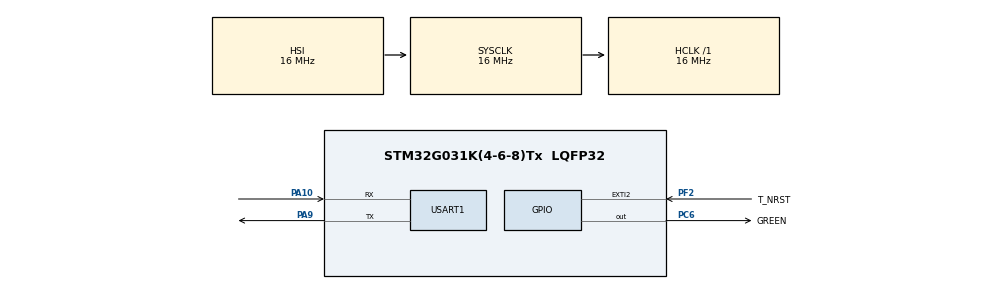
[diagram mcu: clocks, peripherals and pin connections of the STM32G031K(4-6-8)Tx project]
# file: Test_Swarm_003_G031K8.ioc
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Dma.Request0=USART1_RX
Dma.USART1_RX.0.Direction=DMA_PERIPH_TO_MEMORY
Dma.USART1_RX.0.EventEnable=DISABLE
Dma.USART1_RX.0.Instance=DMA1_Channel1
Dma.USART1_RX.0.MemDataAlignment=DMA_MDATAALIGN_BYTE
Dma.USART1_RX.0.MemInc=DMA_MINC_ENABLE
Dma.USART1_RX.0.Mode=DMA_NORMAL
Dma.USART1_RX.0.PeriphDataAlignment=DMA_PDATAALIGN_BYTE
Dma.USART1_RX.0.PeriphInc=DMA_PINC_DISABLE
Dma.USART1_RX.0.Polarity=HAL_DMAMUX_REQ_GEN_RISING
Dma.USART1_RX.0.Priority=DMA_PRIORITY_LOW
Dma.USART1_RX.0.RequestNumber=1
Dma.USART1_RX.0.SignalID=NONE
Dma.USART1_RX.0.SyncEnable=DISABLE
Dma.USART1_RX.0.SyncPolarity=HAL_DMAMUX_SYNC_NO_EVENT
Dma.USART1_RX.0.SyncRequestNumber=1
Dma.USART1_RX.0.SyncSignalID=NONE
Mcu.Family=STM32G0
Mcu.Name=STM32G031K(4-6-8)Tx
Mcu.Package=LQFP32
NVIC.DMA1_Channel1_IRQn=true\:0\:0\:false\:false\:true\:false\:true\:true
NVIC.RTC_TAMP_IRQn=true\:0\:0\:false\:false\:true\:true\:true\:true
NVIC.TIM14_IRQn=true\:0\:0\:false\:false\:true\:true\:true\:true
NVIC.USART1_IRQn=true\:0\:0\:false\:false\:true\:true\:true\:true
PA10.Mode=Asynchronous
PA10.Signal=USART1_RX
PA13.GPIO_Label=T_JTMS
PA13.Mode=Serial_Wire
PA13.Signal=SYS_SWDIO
PA14-BOOT0.GPIO_Label=T_JTCK
PA14-BOOT0.Mode=Serial_Wire
PA14-BOOT0.Signal=SYS_SWCLK
PA9.Mode=Asynchronous
PA9.Signal=USART1_TX
PC14-OSC32_IN\ (PC14).Mode=LSE-External-Oscillator
PC14-OSC32_IN\ (PC14).Signal=RCC_OSC32_IN
PC15-OSC32_OUT\ (PC15).Mode=LSE-External-Oscillator
PC15-OSC32_OUT\ (PC15).Signal=RCC_OSC32_OUT
PC6.GPIO_Label=GREEN
PC6.Signal=GPIO_Output
PF2\ -\ NRST.GPIO_Label=T_NRST
PF2\ -\ NRST.Signal=GPXTI2
ProjectManager.HeapSize=0x200
ProjectManager.StackSize=0x400
ProjectManager.TargetToolchain=STM32CubeIDE
RCC.AHBFreq_Value=16000000
RCC.CortexFreq_Value=16000000
RCC.EXTERNAL_CLOCK_VALUE=12288000
RCC.HCLKFreq_Value=16000000
RCC.HSE_VALUE=8000000
RCC.HSI_VALUE=16000000
RCC.RTCClockSelection=RCC_RTCCLKSOURCE_LSE
RCC.SYSCLKFreq_VALUE=16000000
RCC.VCOOutputFreq_Value=128000000
RTC.WakeUpClock-WakeUp=RTC_WAKEUPCLOCK_CK_SPRE_16BITS
RTC.WakeUpCounter-WakeUp=60
TIM14.Period=5000-1
TIM14.Prescaler=16000-1
USART1.VirtualMode-Asynchronous=VM_ASYNC
VP_RTC_VS_RTC_Activate.Mode=RTC_Enabled
VP_RTC_VS_RTC_WakeUp_intern.Mode=WakeUp
VP_TIM14_VS_ClockSourceINT.Mode=Enable_Timer
board=NUCLEO-G031K8

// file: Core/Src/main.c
/* USER CODE BEGIN Header */
/**
  ******************************************************************************
  * @file           : main.c
  * @brief          : Main program body
  ******************************************************************************
  * @attention
  *
  * Copyright (c) 2022 STMicroelectronics.
  * All rights reserved.
  *
  * This software is licensed under terms that can be found in the LICENSE file
  * in the root directory of this software component.
  * If no LICENSE file comes with this software, it is provided AS-IS.
  *
  ******************************************************************************
  */
/* USER CODE END Header */
#include "main.h"

/* USER CODE BEGIN Includes */
#include <stdlib.h>
#include <stdio.h>
#include <string.h>
/* USER CODE END Includes */

/* USER CODE BEGIN PD */
#define SWARM_UART_HANDLER				&huart1
#define SWARM_UART_TX_TIMEOUT			100
#define SWARM_UART_RX_MAX_BUFF_SIZE		100
#define SWARM_ANSWER_MAX_BUFF_SIZE		100
#define SWARM_UART_TX_MAX_BUFF_SIZE		250
#define SWARM_TD_PAYLOAD_MAX_BUFF_SIZE	192
/* USER CODE END PD */

RTC_HandleTypeDef hrtc;

TIM_HandleTypeDef htim14;

UART_HandleTypeDef huart1;
DMA_HandleTypeDef hdma_usart1_rx;

/* USER CODE BEGIN PV */
char             	swarm_uart_rx_buff[SWARM_UART_RX_MAX_BUFF_SIZE] ;
char             	swarm_uart_tx_buff[SWARM_UART_TX_MAX_BUFF_SIZE] ;
uint8_t				tim14_on ;
uint8_t				swarm_checklist = 0 ;
uint32_t			m138_dev_id = 0 ;
//unsigned int		m138_dev_id = 0 ;
float				m138_voltage = 0 ;
char				m138_fix[50] ;
uint8_t				answer_from_swarm_come = 0 ;

// SWARM AT Commands
const char*			cs_at					= "$CS" ;
const char*			rt_0_at					= "$RT 0" ;
const char*			rt_q_rate_at			= "$RT ?" ;
const char*			pw_0_at					= "$PW 0" ;
const char*			pw_q_rate_at			= "$PW ?" ;
const char*			pw_mostrecent_at		= "$PW @" ;
const char*			dt_0_at					= "$DT 0" ;
const char*			dt_q_rate_at			= "$DT ?" ;
const char*			gs_0_at					= "$GS 0" ;
const char*			gs_q_rate_at			= "$GS ?" ;
const char*			gj_0_at					= "$GJ 0" ;
const char*			gj_q_rate_at			= "$GJ ?" ;
const char*			gn_0_at					= "$GN 0" ;
const char*			gn_q_rate_at			= "$GN ?" ;
const char*			gn_mostrecent_at		= "$GN @" ;
const char*			sl_60s_at_comm			= "$SL S=60" ;
// SWARM AT Answers
const char*         cs_answer				= "$CS DI=0x" ;
const char*         rt_ok_answer			= "$RT OK*22" ;
const char*         rt_0_answer				= "$RT 0*16" ;
const char*         pw_ok_answer			= "$PW OK*23" ;
const char*         pw_0_answer				= "$PW 0*17" ;
const char*         pw_mostrecent_answer	= "$PW " ;
const char*         dt_ok_answer			= "$DT OK*34" ;
const char*         dt_0_answer				= "$DT 0*00" ;
const char*         gs_ok_answer			= "$GS OK*30" ;
const char*         gs_0_answer				= "$GS 0*04" ;
const char*         gj_ok_answer			= "$GJ OK*29" ;
const char*         gj_0_answer				= "$GJ 0*1d" ;
const char*         gn_ok_answer			= "$GN OK*2d" ;
const char*         gn_0_answer				= "$GN 0*19" ;
const char*         gn_mostrecent_answer	= "$GN " ;
const char*			td_ok_answer			= "$TD OK," ;
const char*         sl_ok_answer			= "$SL OK*3b\0" ;
/* USER CODE END PV */

void SystemClock_Config(void);
static void MX_GPIO_Init(void);
static void MX_DMA_Init(void);
static void MX_USART1_UART_Init(void);
static void MX_TIM14_Init(void);
static void MX_RTC_Init(void);
/* USER CODE BEGIN PFP */
void				m138_init 				() ;
uint8_t 			store_m138_dev_id 		( uint32_t* , char* ) ;
uint8_t 			store_m138_voltage 		( float* , char* ) ;
uint8_t 			store_m138_fix 			( char* , char* ) ;
uint8_t 			send_m138_message		() ;
HAL_StatusTypeDef 	send_string_2_uart 		( char* ) ;
uint8_t				uart_comm 				( const char* , const char* , uint16_t ) ;
void				receive_dma_uart 		() ;
void				clean_array 			( char* , uint16_t ) ;
uint8_t				nmea_checksum 			( const char* , size_t ) ;
/* USER CODE END PFP */

int main(void)
{

  /* MCU Configuration--------------------------------------------------------*/

  /* Reset of all peripherals, Initializes the Flash interface and the Systick. */
  HAL_Init();

  /* Configure the system clock */
  SystemClock_Config();

  /* Initialize all configured peripherals */
  MX_GPIO_Init();
  MX_DMA_Init();
  MX_USART1_UART_Init();
  MX_TIM14_Init();
  MX_RTC_Init();
  /* USER CODE BEGIN 2 */
  __HAL_TIM_CLEAR_IT ( &htim14 , TIM_IT_UPDATE ) ;
  //HAL_UARTEx_ReceiveToIdle_DMA ( SWARM_UART_HANDLER , (uint8_t*) swarm_uart_rx_buff , SWARM_UART_RX_MAX_BUFF_SIZE ) ;
  //__HAL_DMA_DISABLE_IT ( &hdma_usart1_rx, DMA_IT_HT ) ; //Disable Half Transfer interrupt.
  /* USER CODE END 2 */

  /* Infinite loop */
  /* USER CODE BEGIN WHILE */
  HAL_Delay ( 1800 ) ;
  m138_init () ;

  while (1)
  {
	  uart_comm ( pw_mostrecent_at , pw_mostrecent_answer , 14 ) ;
	  if ( swarm_checklist == 14 )
	  {
		  store_m138_voltage ( &m138_voltage , swarm_uart_rx_buff ) ;
		  uart_comm ( gn_mostrecent_at , gn_mostrecent_answer , 15 ) ;
		  if ( swarm_checklist == 15 )
		  {
			  store_m138_fix ( m138_fix , swarm_uart_rx_buff ) ;
		  	  uart_comm ( gn_mostrecent_at , gn_mostrecent_answer , 16 ) ;
		  }
		  if ( swarm_checklist == 16 )
		  {
			  send_m138_message () ;
			  /*
			  HAL_Delay ( 60000 ) ;
			  if ( swarm_checklist == 17 )
			  {
				  uart_comm ( sl_60s_at_comm , sl_ok_answer , 18 ) ;
			  }
			  */
		  }
	  }
	  HAL_Delay ( 3000 ) ;
	  //HAL_PWR_EnterSTOPMode ( PWR_LOWPOWERREGULATOR_ON , PWR_STOPENTRY_WFI ) ;
	  //HAL_PWR_EnterSLEEPMode ( PWR_MAINREGULATOR_ON , PWR_SLEEPENTRY_WFI ) ;
    /* USER CODE END WHILE */

    /* USER CODE BEGIN 3 */
	  //HAL_PWREx_EnterSHUTDOWNMode () ;
  }
  /* USER CODE END 3 */
}

void SystemClock_Config(void)
{
  RCC_OscInitTypeDef RCC_OscInitStruct = {0};
  RCC_ClkInitTypeDef RCC_ClkInitStruct = {0};

  /** Configure the main internal regulator output voltage
  */
  HAL_PWREx_ControlVoltageScaling(PWR_REGULATOR_VOLTAGE_SCALE1);

  /** Configure LSE Drive Capability
  */
  HAL_PWR_EnableBkUpAccess();
  __HAL_RCC_LSEDRIVE_CONFIG(RCC_LSEDRIVE_LOW);

  /** Initializes the RCC Oscillators according to the specified parameters
  * in the RCC_OscInitTypeDef structure.
  */
  RCC_OscInitStruct.OscillatorType = RCC_OSCILLATORTYPE_HSI|RCC_OSCILLATORTYPE_LSE;
  RCC_OscInitStruct.LSEState = RCC_LSE_ON;
  RCC_OscInitStruct.HSIState = RCC_HSI_ON;
  RCC_OscInitStruct.HSIDiv = RCC_HSI_DIV1;
  RCC_OscInitStruct.HSICalibrationValue = RCC_HSICALIBRATION_DEFAULT;
  RCC_OscInitStruct.PLL.PLLState = RCC_PLL_NONE;
  if (HAL_RCC_OscConfig(&RCC_OscInitStruct) != HAL_OK)
  {
    Error_Handler();
  }

  /** Initializes the CPU, AHB and APB buses clocks
  */
  RCC_ClkInitStruct.ClockType = RCC_CLOCKTYPE_HCLK|RCC_CLOCKTYPE_SYSCLK
                              |RCC_CLOCKTYPE_PCLK1;
  RCC_ClkInitStruct.SYSCLKSource = RCC_SYSCLKSOURCE_HSI;
  RCC_ClkInitStruct.AHBCLKDivider = RCC_SYSCLK_DIV1;
  RCC_ClkInitStruct.APB1CLKDivider = RCC_HCLK_DIV1;

  if (HAL_RCC_ClockConfig(&RCC_ClkInitStruct, FLASH_LATENCY_0) != HAL_OK)
  {
    Error_Handler();
  }
}

static void MX_RTC_Init(void)
{

  /** Initialize RTC Only
  */
  hrtc.Instance = RTC;
  hrtc.Init.HourFormat = RTC_HOURFORMAT_24;
  hrtc.Init.AsynchPrediv = 127;
  hrtc.Init.SynchPrediv = 255;
  hrtc.Init.OutPut = RTC_OUTPUT_DISABLE;
  hrtc.Init.OutPutRemap = RTC_OUTPUT_REMAP_NONE;
  hrtc.Init.OutPutPolarity = RTC_OUTPUT_POLARITY_HIGH;
  hrtc.Init.OutPutType = RTC_OUTPUT_TYPE_OPENDRAIN;
  hrtc.Init.OutPutPullUp = RTC_OUTPUT_PULLUP_NONE;
  if (HAL_RTC_Init(&hrtc) != HAL_OK)
  {
    Error_Handler();
  }

  /** Enable the WakeUp
  */
  if (HAL_RTCEx_SetWakeUpTimer_IT(&hrtc, 60, RTC_WAKEUPCLOCK_CK_SPRE_16BITS) != HAL_OK)
  {
    Error_Handler();
  }

}

static void MX_TIM14_Init(void)
{

  htim14.Instance = TIM14;
  htim14.Init.Prescaler = 16000-1;
  htim14.Init.CounterMode = TIM_COUNTERMODE_UP;
  htim14.Init.Period = 5000-1;
  htim14.Init.ClockDivision = TIM_CLOCKDIVISION_DIV1;
  htim14.Init.AutoReloadPreload = TIM_AUTORELOAD_PRELOAD_DISABLE;
  if (HAL_TIM_Base_Init(&htim14) != HAL_OK)
  {
    Error_Handler();
  }

}

static void MX_USART1_UART_Init(void)
{

  huart1.Instance = USART1;
  huart1.Init.BaudRate = 115200;
  huart1.Init.WordLength = UART_WORDLENGTH_8B;
  huart1.Init.StopBits = UART_STOPBITS_1;
  huart1.Init.Parity = UART_PARITY_NONE;
  huart1.Init.Mode = UART_MODE_TX_RX;
  huart1.Init.HwFlowCtl = UART_HWCONTROL_NONE;
  huart1.Init.OverSampling = UART_OVERSAMPLING_16;
  huart1.Init.OneBitSampling = UART_ONE_BIT_SAMPLE_DISABLE;
  huart1.Init.ClockPrescaler = UART_PRESCALER_DIV1;
  huart1.AdvancedInit.AdvFeatureInit = UART_ADVFEATURE_NO_INIT;
  if (HAL_UART_Init(&huart1) != HAL_OK)
  {
    Error_Handler();
  }
  if (HAL_UARTEx_SetTxFifoThreshold(&huart1, UART_TXFIFO_THRESHOLD_1_8) != HAL_OK)
  {
    Error_Handler();
  }
  if (HAL_UARTEx_SetRxFifoThreshold(&huart1, UART_RXFIFO_THRESHOLD_1_8) != HAL_OK)
  {
    Error_Handler();
  }
  if (HAL_UARTEx_DisableFifoMode(&huart1) != HAL_OK)
  {
    Error_Handler();
  }

}

static void MX_DMA_Init(void)
{

  /* DMA controller clock enable */
  __HAL_RCC_DMA1_CLK_ENABLE();

  /* DMA interrupt init */
  /* DMA1_Channel1_IRQn interrupt configuration */
  HAL_NVIC_SetPriority(DMA1_Channel1_IRQn, 0, 0);
  HAL_NVIC_EnableIRQ(DMA1_Channel1_IRQn);

}

static void MX_GPIO_Init(void)
{
  GPIO_InitTypeDef GPIO_InitStruct = {0};

  /* GPIO Ports Clock Enable */
  __HAL_RCC_GPIOC_CLK_ENABLE();
  __HAL_RCC_GPIOF_CLK_ENABLE();
  __HAL_RCC_GPIOA_CLK_ENABLE();

  /*Configure GPIO pin Output Level */
  HAL_GPIO_WritePin(GREEN_GPIO_Port, GREEN_Pin, GPIO_PIN_RESET);

  /*Configure GPIO pin : T_NRST_Pin */
  GPIO_InitStruct.Pin = T_NRST_Pin;
  GPIO_InitStruct.Mode = GPIO_MODE_IT_RISING;
  GPIO_InitStruct.Pull = GPIO_NOPULL;
  HAL_GPIO_Init(T_NRST_GPIO_Port, &GPIO_InitStruct);

  /*Configure GPIO pin : GREEN_Pin */
  GPIO_InitStruct.Pin = GREEN_Pin;
  GPIO_InitStruct.Mode = GPIO_MODE_OUTPUT_PP;
  GPIO_InitStruct.Pull = GPIO_NOPULL;
  GPIO_InitStruct.Speed = GPIO_SPEED_FREQ_LOW;
  HAL_GPIO_Init(GREEN_GPIO_Port, &GPIO_InitStruct);

}

/* USER CODE BEGIN 4 */
uint8_t send_m138_message ()
{
	snprintf ( swarm_uart_tx_buff , SWARM_TD_PAYLOAD_MAX_BUFF_SIZE , "$TD HD=60,\"%u;%f;%s\"" , (unsigned int) m138_dev_id , m138_voltage , m138_fix ) ;
	uart_comm ( swarm_uart_tx_buff , td_ok_answer , 17 ) ;
	if ( swarm_checklist == 17 )
		return 1 ;
	else
		return 0 ;
}
uint8_t store_m138_fix ( char* d , char* s )
{
	if ( ! strstr ( s , "$GN " ) )
		return 0 ;
	s = strtok ( (char*) s , " " ) ;
	s = strtok ( NULL , "*" ) ;
	size_t l =  strlen ( s ) ;
	memcpy ( d , s , l ) ;
	d[l] = '\0' ;
	return 1 ;
}

uint8_t store_m138_voltage ( float* d , char* s )
{
	if ( ! strstr ( s , "$PW " ) )
		return 0 ;
	s = strtok ( (char*) s , " " ) ;
	s = strtok ( NULL , "," ) ;
	*d = (float) strtof ( s , NULL ) ;
	return 1 ;
	//clean_array ( swarm_uart_rx_buff , SWARM_UART_RX_MAX_BUFF_SIZE ) ;
}

uint8_t store_m138_dev_id ( uint32_t* dev_id , char* s )
{
	if ( ! strstr ( s , "DI=0x" ) )
		return 0 ;
	s = strtok ( (char*) s , "=" ) ;
	s = strtok ( NULL , "," ) ;
	*dev_id = (uint32_t) strtol ( s , NULL , 16 ) ;
	return 1 ;
	//clean_array ( swarm_uart_rx_buff , SWARM_UART_RX_MAX_BUFF_SIZE ) ;
}

void m138_init ()
{
	uart_comm ( cs_at , cs_answer , 1 ) ;
	if ( swarm_checklist == 1 )
	{
		store_m138_dev_id ( &m138_dev_id , swarm_uart_rx_buff ) ;
		uart_comm ( rt_0_at , rt_ok_answer , 2 ) ;
	}
	if ( swarm_checklist == 2 )
		uart_comm ( rt_q_rate_at , rt_0_answer , 3 ) ;
	if ( swarm_checklist == 3 )
		uart_comm ( pw_0_at , pw_ok_answer , 4 ) ;
	if ( swarm_checklist == 4 )
		uart_comm ( pw_q_rate_at , pw_0_answer , 5 ) ;
	if ( swarm_checklist == 5 )
		uart_comm ( dt_0_at , dt_ok_answer , 6 ) ;
	if ( swarm_checklist == 6 )
		uart_comm ( dt_q_rate_at , dt_0_answer , 7 ) ;
	if ( swarm_checklist == 7 )
		uart_comm ( gs_0_at , gs_ok_answer  , 8 ) ;
	if ( swarm_checklist == 8 )
		uart_comm ( gs_q_rate_at , gs_0_answer , 9 ) ;
	if ( swarm_checklist == 9 )
		uart_comm ( gj_0_at , gj_ok_answer  , 10 ) ;
	if ( swarm_checklist == 10 )
		uart_comm ( gj_q_rate_at , gj_0_answer , 11 ) ;
	if ( swarm_checklist == 11 )
		uart_comm ( gn_0_at , gn_ok_answer  , 12 ) ;
	if ( swarm_checklist == 12 )
		uart_comm ( gn_q_rate_at , gn_0_answer , 13 ) ;
}

uint8_t uart_comm ( const char* at_command , const char* answer , uint16_t step )
{
	uint8_t t ;
	uint8_t cs = nmea_checksum ( at_command , strlen ( at_command ) ) ;
	sprintf ( swarm_uart_tx_buff , "%s*%02x\n" , at_command , cs ) ;
	receive_dma_uart () ;
	for ( t = 0 ; t < 5 ; t++ )
	{
		tim14_on = 1 ;
		HAL_TIM_Base_Start_IT ( &htim14 ) ;
		//Usunąc poniższe bo nie dziala do końca przez to
		answer_from_swarm_come = 0 ;
		send_string_2_uart ( swarm_uart_tx_buff ) ;
		while ( tim14_on )
		{
			if ( answer_from_swarm_come == 1 )
			{
				if ( strncmp ( swarm_uart_rx_buff , answer , strlen ( answer ) ) == 0 )
					swarm_checklist = step ;
				break ;
				receive_dma_uart () ;
			}
		}
		if ( swarm_checklist == step )
			break ;
	}
	if ( swarm_checklist == step )
		return 1 ;
	else
		return 0 ;
}

void clean_array ( char* array , uint16_t array_max_size )
{
	uint16_t i ;
	for ( i = 0 ; i < array_max_size ; i++ )
		array[i] = 0 ;
}

HAL_StatusTypeDef send_string_2_uart ( char* s )
{
	return HAL_UART_Transmit ( SWARM_UART_HANDLER , (uint8_t *) s , strlen ( s ) , SWARM_UART_TX_TIMEOUT ) ;
}

void receive_dma_uart ()
{
	HAL_UARTEx_ReceiveToIdle_DMA ( SWARM_UART_HANDLER , (uint8_t*) swarm_uart_rx_buff , SWARM_UART_RX_MAX_BUFF_SIZE ) ;
	__HAL_DMA_DISABLE_IT ( &hdma_usart1_rx, DMA_IT_HT ) ; //Disable Half Transfer interrupt.
}

uint8_t nmea_checksum ( const char *message , size_t len )
{
	size_t i = 0 ;
	uint8_t cs ;
	if ( message [0] == '$' )
		i++ ;
	for ( cs = 0 ; ( i < len ) && message [i] ; i++ )
		cs ^= ( (uint8_t) message [i] ) ;
	return cs;
}

void HAL_UARTEx_RxEventCallback ( UART_HandleTypeDef *huart , uint16_t Size )
{
    if ( huart->Instance == USART1 )
    {
    	swarm_uart_rx_buff[Size] = '\0' ;
    	answer_from_swarm_come = 1 ;
    }
}
void HAL_TIM_PeriodElapsedCallback ( TIM_HandleTypeDef *htim )
{
	if ( htim->Instance == TIM14 )
	{
		tim14_on = 0 ;
		HAL_TIM_Base_Stop_IT ( &htim14 ) ;
	}
}
/* USER CODE END 4 */

void Error_Handler(void)
{
  __disable_irq();
  while (1)
  {
  }
}
